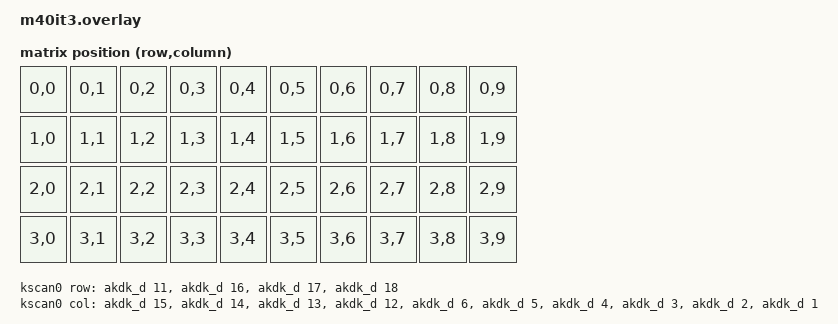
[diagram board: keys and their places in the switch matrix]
#include <dt-bindings/zmk/matrix_transform.h>
#include <dt-bindings/zmk/input_transform.h>
#include "layouts.dtsi"

/* ▽ 1. 物理センサーの設定（依存関係の最上位） ▽ */
&pinctrl {
    spi0_default: spi0_default {
        group1 {
            psels = <NRF_PSEL(SPIM_SCK, 0, 12)>,
                <NRF_PSEL(SPIM_MOSI, 1, 9)>,
                <NRF_PSEL(SPIM_MISO, 1, 9)>;
        };
    };
    spi0_sleep: spi0_sleep {
        group1 {
            psels = <NRF_PSEL(SPIM_SCK, 0, 12)>,
                <NRF_PSEL(SPIM_MOSI, 1, 9)>,
                <NRF_PSEL(SPIM_MISO, 1, 9)>;
            low-power-enable;
        };
    };
};

&spi0 {
    status = "okay";
    compatible = "nordic,nrf-spim";
    pinctrl-0 = <&spi0_default>;
    pinctrl-1 = <&spi0_sleep>;
    pinctrl-names = "default", "sleep";
    cs-gpios = <&gpio0 13 GPIO_ACTIVE_LOW>;

    trackball: trackball@0 {
        status = "okay";
        compatible = "pixart,paw3222";
        reg = <0>;
        spi-max-frequency = <2000000>;
        irq-gpios = <&gpio0 15 GPIO_ACTIVE_LOW>;
    };
};

/* ▽ 2. 入力変換プロセッサの定義 ▽ */
/ {
    /* 通常のXY移動用 */
    zip_xy_transform: zip_xy_transform {
        compatible = "zmk,input-processor-transform";
        #input-processor-cells = <1>;
        type = <0x02>;           /* INPUT_EV_REL */
        x-codes = <0x00>;        /* REL_X */
        y-codes = <0x01>;        /* REL_Y */
    };

    /* スクロール変換用（軸調整済み） */
    zip_scroll_transform: zip_scroll_transform {
        compatible = "zmk,input-processor-transform";
        #input-processor-cells = <1>;
        type = <0x02>;           /* INPUT_EV_REL */
        /* 軸入れ替え(XY_SWAP)と反転(X_INVERT)を考慮したマッピング */
        x-codes = <0x01>, <0x08>; /* センサーのYをREL_WHEEL(垂直)へ */
        y-codes = <0x00>, <0x06>; /* センサーのXをREL_HWHEEL(水平)へ */
    };
};

/* ▽ 3. キーボード全体の設定 ▽ */
/ {
    chosen {
        zmk,physical-layout = &physical_layout0;
    };

    default_transform: keymap_transform_0 {
        compatible = "zmk,matrix-transform";
        columns = <10>;
        rows = <4>;
        map = <
            RC(0,0) RC(0,1) RC(0,2) RC(0,3) RC(0,4) RC(0,5) RC(0,6) RC(0,7) RC(0,8) RC(0,9)
            RC(1,0) RC(1,1) RC(1,2) RC(1,3) RC(1,4) RC(1,5) RC(1,6) RC(1,7) RC(1,8) RC(1,9)
            RC(2,0) RC(2,1) RC(2,2) RC(2,3) RC(2,4) RC(2,5) RC(2,6) RC(2,7) RC(2,8) RC(2,9)
            RC(3,0) RC(3,1) RC(3,2) RC(3,3) RC(3,4) RC(3,5) RC(3,6) RC(3,7) RC(3,8) RC(3,9)
        >;
    };

    kscan0: kscan {
        compatible = "zmk,kscan-gpio-matrix";
        wakeup-source;
        diode-direction = "col2row";
        row-gpios
            = <&akdk_d 11 (GPIO_ACTIVE_HIGH | GPIO_PULL_DOWN)>
            ,<&akdk_d 16 (GPIO_ACTIVE_HIGH | GPIO_PULL_DOWN)>
            ,<&akdk_d 17 (GPIO_ACTIVE_HIGH | GPIO_PULL_DOWN)>
            ,<&akdk_d 18 (GPIO_ACTIVE_HIGH | GPIO_PULL_DOWN)>
            ;
        col-gpios
            = <&akdk_d 15 GPIO_ACTIVE_HIGH>
            ,<&akdk_d 14 GPIO_ACTIVE_HIGH>
            ,<&akdk_d 13 GPIO_ACTIVE_HIGH>
            ,<&akdk_d 12 GPIO_ACTIVE_HIGH>
            ,<&akdk_d 6 GPIO_ACTIVE_HIGH>
            ,<&akdk_d 5 GPIO_ACTIVE_HIGH>
            ,<&akdk_d 4 GPIO_ACTIVE_HIGH>
            ,<&akdk_d 3 GPIO_ACTIVE_HIGH>
            ,<&akdk_d 2 GPIO_ACTIVE_HIGH>
            ,<&akdk_d 1 GPIO_ACTIVE_HIGH>
            ;
    };

    /* ▽ 4. リスナー設定（挙動の心臓部） ▽ */
    trackball_listener: trackball_listener {
        compatible = "zmk,input-listener";
        device = <&trackball>;

        /* [重要] 通常時のXY変換 */
        input-processors = <&zip_xy_transform (INPUT_TRANSFORM_XY_SWAP | INPUT_TRANSFORM_X_INVERT)>;

        /* [重要] レイヤー1での挙動定義 */
        scrolling {
            layers = <1>;
            /* 通常のXY変換を上書きしてスクロールに変換 */
            input-processors = <&zip_scroll_transform 0>;
        };
    };
};

&physical_layout0 {
    kscan = <&kscan0>;
    transform = <&default_transform>;
};
